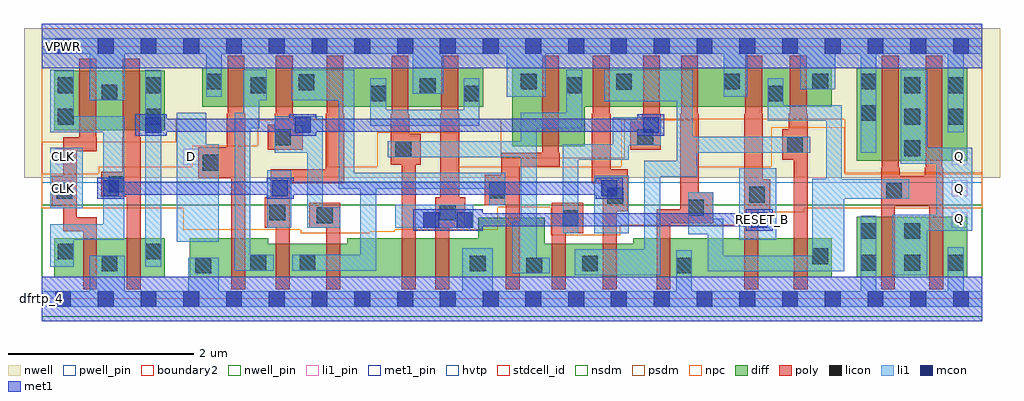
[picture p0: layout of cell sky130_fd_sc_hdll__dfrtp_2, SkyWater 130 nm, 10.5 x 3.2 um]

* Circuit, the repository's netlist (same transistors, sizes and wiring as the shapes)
* Copyright 2020 The SkyWater PDK Authors
*
* Licensed under the Apache License, Version 2.0 (the "License");
* you may not use this file except in compliance with the License.
* You may obtain a copy of the License at
*
*     https://www.apache.org/licenses/LICENSE-2.0
*
* Unless required by applicable law or agreed to in writing, software
* distributed under the License is distributed on an "AS IS" BASIS,
* WITHOUT WARRANTIES OR CONDITIONS OF ANY KIND, either express or implied.
* See the License for the specific language governing permissions and
* limitations under the License.
*
* SPDX-License-Identifier: Apache-2.0

.SUBCKT sky130_fd_sc_hdll__dfrtp_2 CLK D RESET_B VGND VNB VPB VPWR Q
*.PININFO CLK:I D:I RESET_B:I VGND:I VNB:I VPB:I VPWR:I Q:O
MI46 clkpos clkneg VGND VNB sky130_fd_pr__nfet_01v8 m=1 w=0.42U l=0.15U mult=1
+ sa=0.265 sb=0.265 sd=0.28 area=0.063 perim=1.14
MI42 db clkneg M0 VNB sky130_fd_pr__nfet_01v8 m=1 w=0.36U l=0.15U mult=1 sa=0.265
+ sb=0.265 sd=0.28 area=0.063 perim=1.14
MI656 net82 s0 net108 VNB sky130_fd_pr__nfet_01v8 m=1 w=0.42U l=0.15U mult=1 sa=0.265
+ sb=0.265 sd=0.28 area=0.063 perim=1.14
MI657 net108 RESET_B VGND VNB sky130_fd_pr__nfet_01v8 m=1 w=0.42U l=0.15U mult=1
+ sa=0.265 sb=0.265 sd=0.28 area=0.063 perim=1.14
MI33 net101 RESET_B VGND VNB sky130_fd_pr__nfet_01v8 m=1 w=0.42U l=0.15U mult=1
+ sa=0.265 sb=0.265 sd=0.28 area=0.063 perim=1.14
MI4 M0 clkpos net93 VNB sky130_fd_pr__nfet_01v8 m=1 w=0.36U l=0.15U mult=1 sa=0.265
+ sb=0.265 sd=0.28 area=0.063 perim=1.14
MI34 net93 M1 net101 VNB sky130_fd_pr__nfet_01v8 m=1 w=0.42U l=0.15U mult=1 sa=0.265
+ sb=0.265 sd=0.28 area=0.063 perim=1.14
MI655 s0 clkneg net81 VNB sky130_fd_pr__nfet_01v8 m=1 w=0.36U l=0.15U mult=1 sa=0.265
+ sb=0.265 sd=0.28 area=0.063 perim=1.14
MI653 Q net82 VGND VNB sky130_fd_pr__nfet_01v8 m=2 w=0.65U l=0.15U mult=1 sa=0.265
+ sb=0.265 sd=0.28 area=0.063 perim=1.14
MI654 net81 net82 VGND VNB sky130_fd_pr__nfet_01v8 m=1 w=0.42U l=0.15U mult=1 sa=0.265
+ sb=0.265 sd=0.28 area=0.063 perim=1.14
MI44 clkneg CLK VGND VNB sky130_fd_pr__nfet_01v8 m=1 w=0.42U l=0.15U mult=1 sa=0.265
+ sb=0.265 sd=0.28 area=0.063 perim=1.14
MI647 M1 M0 VGND VNB sky130_fd_pr__nfet_01v8 m=1 w=0.64U l=0.15U mult=1 sa=0.265
+ sb=0.265 sd=0.28 area=0.063 perim=1.14
MI39 db D VGND VNB sky130_fd_pr__nfet_01v8 m=1 w=0.42U l=0.15U mult=1 sa=0.265
+ sb=0.265 sd=0.28 area=0.063 perim=1.14
MI649 M1 clkpos s0 VNB sky130_fd_pr__nfet_01v8 m=1 w=0.36U l=0.15U mult=1 sa=0.265
+ sb=0.265 sd=0.28 area=0.063 perim=1.14
MI47 clkpos clkneg VPWR VPB sky130_fd_pr__pfet_01v8_hvt m=1 w=0.64U l=0.18U mult=1
+ sa=0.265 sb=0.265 sd=0.28 area=0.063 perim=1.14
MI43 db clkpos M0 VPB sky130_fd_pr__pfet_01v8_hvt m=1 w=0.42U l=0.18U mult=1 sa=0.265
+ sb=0.265 sd=0.28 area=0.063 perim=1.14
MI662 net165 net82 VPWR VPB sky130_fd_pr__pfet_01v8_hvt m=1 w=0.42U l=0.18U mult=1
+ sa=0.265 sb=0.265 sd=0.28 area=0.063 perim=1.14
MI659 net82 RESET_B VPWR VPB sky130_fd_pr__pfet_01v8_hvt m=1 w=0.42U l=0.18U mult=1
+ sa=0.265 sb=0.265 sd=0.28 area=0.063 perim=1.14
MI664 s0 clkpos net165 VPB sky130_fd_pr__pfet_01v8_hvt m=1 w=0.42U l=0.18U mult=1
+ sa=0.265 sb=0.265 sd=0.28 area=0.063 perim=1.14
MI658 net82 s0 VPWR VPB sky130_fd_pr__pfet_01v8_hvt m=1 w=0.42U l=0.18U mult=1
+ sa=0.265 sb=0.265 sd=0.28 area=0.063 perim=1.14
MI30 net144 M1 VPWR VPB sky130_fd_pr__pfet_01v8_hvt m=1 w=0.42U l=0.18U mult=1
+ sa=0.265 sb=0.265 sd=0.28 area=0.063 perim=1.14
MI31 M0 clkneg net144 VPB sky130_fd_pr__pfet_01v8_hvt m=1 w=0.42U l=0.18U mult=1
+ sa=0.265 sb=0.265 sd=0.28 area=0.063 perim=1.14
MI32 net144 RESET_B VPWR VPB sky130_fd_pr__pfet_01v8_hvt m=1 w=0.42U l=0.18U mult=1
+ sa=0.265 sb=0.265 sd=0.28 area=0.063 perim=1.14
MI660 Q net82 VPWR VPB sky130_fd_pr__pfet_01v8_hvt m=2 w=1.0U l=0.18U mult=1 sa=0.265
+ sb=0.265 sd=0.28 area=0.063 perim=1.14
MI45 clkneg CLK VPWR VPB sky130_fd_pr__pfet_01v8_hvt m=1 w=0.64U l=0.18U mult=1
+ sa=0.265 sb=0.265 sd=0.28 area=0.063 perim=1.14
MI648 M1 M0 VPWR VPB sky130_fd_pr__pfet_01v8_hvt m=1 w=0.84U l=0.18U mult=1 sa=0.265
+ sb=0.265 sd=0.28 area=0.063 perim=1.14
MI40 db D VPWR VPB sky130_fd_pr__pfet_01v8_hvt m=1 w=0.42U l=0.18U mult=1 sa=0.265
+ sb=0.265 sd=0.28 area=0.063 perim=1.14
MI650 M1 clkneg s0 VPB sky130_fd_pr__pfet_01v8_hvt m=1 w=0.42U l=0.18U mult=1 sa=0.265
+ sb=0.265 sd=0.28 area=0.063 perim=1.14
.ENDS sky130_fd_sc_hdll__dfrtp_2

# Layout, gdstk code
import gdstk
lib = gdstk.Library(unit=1e-6, precision=1e-09)
def R(c, l, rs):  # rectangles x0, y0, x1, y1
    for r in rs: c.add(gdstk.rectangle(r[:2], r[2:], *l))
def A(c, l, x, y, w, h, nx, ny, dx, dy):  # array of equal rectangles
    R(c, l, [(x+i*dx, y+j*dy, x+i*dx+w, y+j*dy+h) for i in range(nx) for j in range(ny)])
def P(c, l, *ps):  # polygons
    for p in ps: c.add(gdstk.Polygon(p, *l))
nwell_pin = (64, 16)
nwell = (64, 20)
diff = (65, 20)
poly = (66, 20)
licon = (66, 44)
li1_pin = (67, 16)
li1 = (67, 20)
mcon = (67, 44)
met1_pin = (68, 16)
met1 = (68, 20)
hvtp = (78, 44)
stdcell_id = (81, 4)
nsdm = (93, 44)
psdm = (94, 20)
npc = (95, 20)
pwell_pin = (122, 16)
boundary2 = (236, 0)

sky130_fd_sc_hdll__dfrtp = lib.new_cell('sky130_fd_sc_hdll__dfrtp_2')
R(sky130_fd_sc_hdll__dfrtp, nwell_pin, [(0.145,2.635,0.315,2.805)])
R(sky130_fd_sc_hdll__dfrtp, nwell, [(-0.19,1.305,10.31,2.91)])
R(sky130_fd_sc_hdll__dfrtp, diff, [(0.135,0.235,1.325,0.655), (8.77,0.235,9.96,0.885), (8.77,1.485,9.96,2.485), (0.135,1.815,1.325,2.455), (1.73,2.065,4.75,2.485)])
P(sky130_fd_sc_hdll__dfrtp, diff, [(8.5,2.485),(5.065,2.485),(5.065,1.645),(5.845,1.645),(5.845,2.065),(8.5,2.065)],
  [(8.5,0.655),(6.365,0.655),(6.365,0.595),(5.415,0.595),(5.415,0.875),(4.695,0.875),(4.695,0.655),(3.285,0.655),(3.285,0.595),(2.44,0.595),(2.44,0.655),(1.595,0.655),(1.595,0.235),(8.5,0.235)])
P(sky130_fd_sc_hdll__dfrtp, poly, [(0.595,1.74),(0.585,1.74),(0.585,2.585),(0.405,2.585),(0.405,1.74),(0.23,1.74),(0.23,1.325),(0.11,1.325),(0.11,0.995),(0.23,0.995),(0.23,0.73),(0.445,0.73),(0.445,0.105),(0.595,0.105),(0.595,0.88),(0.38,0.88),(0.38,1.59),(0.595,1.59)],
  [(1.065,1.74),(1.055,1.74),(1.055,2.585),(0.875,2.585),(0.875,1.74),(0.865,1.74),(0.865,1.37),(0.64,1.37),(0.64,1.1),(0.915,1.1),(0.915,0.105),(1.065,0.105)],
  [(2.19,1.99),(2.18,1.99),(2.18,2.615),(2,2.615),(2,1.99),(1.99,1.99),(1.99,1.63),(1.685,1.63),(1.685,1.3),(2.04,1.3),(2.04,0.105),(2.19,0.105)],
  [(2.81,1.875),(2.71,1.875),(2.71,1.99),(2.7,1.99),(2.7,2.615),(2.52,2.615),(2.52,1.99),(2.51,1.99),(2.51,1.875),(2.43,1.875),(2.43,1.605),(2.81,1.605)],
  [(3.21,1.035),(2.88,1.035),(2.88,0.765),(3.06,0.765),(3.06,0.105),(3.21,0.105)],
  [(3.255,1.99),(3.245,1.99),(3.245,2.615),(3.065,2.615),(3.065,1.99),(3.055,1.99),(3.055,1.395),(2.465,1.395),(2.465,1.095),(2.4,1.095),(2.4,0.765),(2.52,0.765),(2.52,0.105),(2.67,0.105),(2.67,1.245),(3.255,1.245)],
  [(4.08,1.775),(3.955,1.775),(3.955,1.99),(3.945,1.99),(3.945,2.615),(3.765,2.615),(3.765,1.99),(3.755,1.99),(3.755,1.445),(3.875,1.445),(3.875,0.105),(4.025,0.105),(4.025,1.445),(4.08,1.445)],
  [(4.555,1.095),(4.49,1.095),(4.49,1.99),(4.48,1.99),(4.48,2.615),(4.3,2.615),(4.3,1.99),(4.29,1.99),(4.29,1.095),(4.235,1.095),(4.235,0.105),(4.385,0.105),(4.385,0.765),(4.555,0.765)],
  [(5.575,1.57),(5.565,1.57),(5.565,2.615),(5.385,2.615),(5.385,1.57),(4.945,1.57),(4.945,1.335),(4.765,1.335),(4.765,1.005),(4.995,1.005),(4.995,0.105),(5.145,0.105),(5.145,1.42),(5.575,1.42)],
  [(5.825,1.035),(5.49,1.035),(5.49,0.105),(5.64,0.105),(5.64,0.705),(5.825,0.705)],
  [(6.305,1.395),(6.12,1.395),(6.12,1.99),(6.11,1.99),(6.11,2.615),(5.93,2.615),(5.93,1.99),(5.92,1.99),(5.92,1.245),(6.035,1.245),(6.035,0.105),(6.185,0.105),(6.185,0.945),(6.305,0.945)],
  [(6.66,1.99),(6.65,1.99),(6.65,2.615),(6.47,2.615),(6.47,1.99),(6.46,1.99),(6.46,1.905),(6.33,1.905),(6.33,1.605),(6.66,1.605)],
  [(7.225,1.145),(7.07,1.145),(7.07,1.99),(7.06,1.99),(7.06,2.615),(6.88,2.615),(6.88,1.99),(6.87,1.99),(6.87,0.965),(6.615,0.965),(6.615,0.105),(6.765,0.105),(6.765,0.815),(7.225,0.815)],
  [(7.84,1.285),(7.76,1.285),(7.76,1.99),(7.75,1.99),(7.75,2.615),(7.57,2.615),(7.57,1.99),(7.56,1.99),(7.56,0.105),(7.71,0.105),(7.71,0.955),(7.84,0.955)],
  [(8.24,1.99),(8.23,1.99),(8.23,2.615),(8.05,2.615),(8.05,1.99),(8.04,1.99),(8.04,1.825),(7.97,1.825),(7.97,1.495),(8.09,1.495),(8.09,0.105),(8.24,0.105)],
  [(9.7,1.41),(9.69,1.41),(9.69,2.615),(9.51,2.615),(9.51,1.41),(9.5,1.41),(9.5,1.325),(9.23,1.325),(9.23,1.41),(9.22,1.41),(9.22,2.615),(9.04,2.615),(9.04,1.41),(9.03,1.41),(9.03,0.105),(9.18,0.105),(9.18,0.995),(9.55,0.995),(9.55,0.105),(9.7,0.105)])
A(sky130_fd_sc_hdll__dfrtp, licon, 8.81, 0.305, 0.17, 0.17, 3, 1, 0.47, 0)
A(sky130_fd_sc_hdll__dfrtp, licon, 9.28, 1.535, 0.17, 0.17, 1, 3, 0, 0.34)
R(sky130_fd_sc_hdll__dfrtp, licon, [(1.655,0.275,1.825,0.445), (5.215,0.275,5.385,0.445), (6.825,0.275,6.995,0.445), (0.645,0.295,0.815,0.465), (4.605,0.295,4.775,0.465), (5.815,0.295,5.985,0.465), (2.245,0.305,2.415,0.475), (2.775,0.305,2.945,0.475), (8.29,0.375,8.46,0.545), (0.175,0.425,0.345,0.595), (1.115,0.425,1.285,0.595), (8.81,0.645,8.98,0.815), (9.28,0.645,9.45,0.815), (5.605,0.785,5.775,0.955), (2.96,0.815,3.13,0.985), (2.45,0.845,2.62,1.015), (4.285,0.845,4.455,1.015), (6.955,0.895,7.125,1.065), (6.085,1.025,6.255,1.195), (7.61,1.035,7.78,1.205), (0.16,1.075,0.33,1.245), (9.085,1.075,9.255,1.245), (4.815,1.085,4.985,1.255), (0.72,1.15,0.89,1.32), (1.735,1.38,1.905,1.55), (3.805,1.525,3.975,1.695), (8.02,1.575,8.19,1.745), (2.51,1.655,2.68,1.825), (6.41,1.655,6.58,1.825), (0.175,1.875,0.345,2.045), (1.115,1.875,1.285,2.045), (9.75,1.875,9.92,2.045), (8.81,1.915,8.98,2.085), (3.535,2.125,3.705,2.295), (4.54,2.125,4.71,2.295), (7.81,2.125,7.98,2.295), (0.645,2.135,0.815,2.305), (4.07,2.205,4.24,2.375), (0.175,2.215,0.345,2.385), (1.115,2.215,1.285,2.385), (2.25,2.215,2.42,2.385), (5.645,2.215,5.815,2.385), (9.75,2.215,9.92,2.385), (2.765,2.245,2.935,2.415), (6.18,2.25,6.35,2.42), (1.77,2.255,1.94,2.425), (5.155,2.255,5.325,2.425), (7.34,2.255,7.51,2.425), (8.29,2.255,8.46,2.425), (8.81,2.255,8.98,2.425)])
A(sky130_fd_sc_hdll__dfrtp, li1_pin, 9.79, 0.765, 0.17, 0.17, 1, 3, 0, 0.34)
R(sky130_fd_sc_hdll__dfrtp, li1_pin, [(0.15,1.105,0.32,1.275), (0.15,1.445,0.32,1.615), (1.525,1.445,1.695,1.615)])
R(sky130_fd_sc_hdll__dfrtp, li1, [(1.115,0.345,1.285,2.465), (7.505,0.635,7.905,1.405), (5.945,0.705,6.315,1.325), (2.425,0.765,2.685,1.385), (3.805,0.765,4.645,1.015), (0.09,0.975,0.44,1.625)])
P(sky130_fd_sc_hdll__dfrtp, li1, [(10.12,2.805),(0,2.805),(0,2.635),(0.515,2.635),(0.515,2.135),(0.895,2.135),(0.895,2.635),(1.77,2.635),(1.77,2.175),(1.94,2.175),(1.94,2.635),(3.99,2.635),(3.99,2.205),(4.32,2.205),(4.32,2.635),(5.005,2.635),(5.005,2.175),(5.425,2.175),(5.425,2.635),(7.34,2.635),(7.34,2.175),(7.59,2.175),(7.59,2.635),(8.16,2.635),(8.16,2.255),(8.54,2.255),(8.54,2.635),(8.81,2.635),(8.81,1.575),(8.98,1.575),(8.98,2.635),(9.75,2.635),(9.75,1.795),(9.92,1.795),(9.92,2.635),(10.12,2.635)],
  [(10.12,0.085),(9.92,0.085),(9.92,0.555),(9.75,0.555),(9.75,0.085),(8.98,0.085),(8.98,0.895),(8.81,0.895),(8.81,0.085),(6.995,0.085),(6.995,0.525),(6.825,0.525),(6.825,0.085),(4.855,0.085),(4.855,0.545),(4.525,0.545),(4.525,0.085),(1.905,0.085),(1.905,0.445),(1.575,0.445),(1.575,0.085),(0.895,0.085),(0.895,0.465),(0.515,0.465),(0.515,0.085),(0,0.085),(0,-0.085),(10.12,-0.085)],
  [(10.01,1.625),(9.53,1.625),(9.53,2.465),(9.24,2.465),(9.24,1.455),(9.625,1.455),(9.625,0.905),(9.15,0.905),(9.15,0.255),(9.53,0.255),(9.53,0.735),(10.01,0.735)],
  [(9.335,1.285),(8.61,1.285),(8.61,2.085),(7.98,2.085),(7.98,2.375),(7.81,2.375),(7.81,1.915),(8.44,1.915),(8.44,1.295),(8.29,1.295),(8.29,0.465),(7.335,0.465),(7.335,0.865),(7.225,0.865),(7.225,1.145),(6.955,1.145),(6.955,0.695),(7.165,0.695),(7.165,0.295),(8.635,0.295),(8.635,1.075),(9.335,1.075)],
  [(8.27,1.745),(7.005,1.745),(7.005,2.465),(6.05,2.465),(6.05,2.125),(6.835,2.125),(6.835,1.485),(6.485,1.485),(6.485,0.535),(5.735,0.535),(5.735,0.255),(6.655,0.255),(6.655,1.315),(7.055,1.315),(7.055,1.575),(8.27,1.575)],
  [(6.66,1.955),(6.145,1.955),(6.145,1.665),(5.605,1.665),(5.605,0.705),(5.775,0.705),(5.775,1.495),(6.315,1.495),(6.315,1.655),(6.66,1.655)],
  [(5.815,2.465),(5.645,2.465),(5.645,2.005),(5.155,2.005),(5.155,1.695),(3.725,1.695),(3.725,1.525),(5.155,1.525),(5.155,0.835),(5.065,0.835),(5.065,0.275),(5.465,0.275),(5.465,0.445),(5.325,0.445),(5.325,1.835),(5.815,1.835)],
  [(0.89,1.965),(0.345,1.965),(0.345,2.465),(0.09,2.465),(0.09,1.795),(0.66,1.795),(0.66,0.805),(0.09,0.805),(0.09,0.345),(0.345,0.345),(0.345,0.635),(0.89,0.635)],
  [(4.985,1.355),(3.365,1.355),(3.365,2.465),(2.685,2.465),(2.685,2.135),(3.195,2.135),(3.195,1.185),(3.43,1.185),(3.43,0.475),(2.695,0.475),(2.695,0.305),(3.6,0.305),(3.6,1.185),(4.815,1.185),(4.815,1.005),(4.985,1.005)],
  [(4.71,2.375),(4.54,2.375),(4.54,2.035),(3.705,2.035),(3.705,2.375),(3.535,2.375),(3.535,1.865),(4.71,1.865)],
  [(3.21,0.985),(3.025,0.985),(3.025,1.965),(2.51,1.965),(2.51,1.575),(2.855,1.575),(2.855,0.765),(3.21,0.765)],
  [(2.495,0.475),(2.245,0.475),(2.245,1.835),(2.34,1.835),(2.34,2.135),(2.42,2.135),(2.42,2.465),(2.17,2.465),(2.17,2.005),(2.075,2.005),(2.075,0.305),(2.495,0.305)],
  [(1.905,1.665),(1.77,1.665),(1.77,2.005),(1.455,2.005),(1.455,0.615),(1.905,0.615)])
A(sky130_fd_sc_hdll__dfrtp, mcon, 0.145, -0.085, 0.17, 0.17, 22, 2, 0.46, 2.72)
R(sky130_fd_sc_hdll__dfrtp, mcon, [(4.105,0.765,4.275,0.935), (4.465,0.765,4.635,0.935), (7.635,0.765,7.805,0.935), (0.66,1.105,0.83,1.275), (2.48,1.105,2.65,1.275), (6.02,1.105,6.19,1.275), (1.115,1.785,1.285,1.955), (2.725,1.785,2.895,1.955), (6.47,1.785,6.64,1.955)])
R(sky130_fd_sc_hdll__dfrtp, met1_pin, [(0.145,-0.085,0.315,0.085), (7.635,0.765,7.805,0.935), (0.145,2.635,0.315,2.805)])
R(sky130_fd_sc_hdll__dfrtp, met1, [(0,-0.24,10.12,0.24), (0,2.48,10.12,2.96)])
P(sky130_fd_sc_hdll__dfrtp, met1, [(7.865,0.965),(7.575,0.965),(7.575,0.92),(4.745,0.92),(4.745,0.965),(3.995,0.965),(3.995,0.735),(4.745,0.735),(4.745,0.78),(7.575,0.78),(7.575,0.735),(7.865,0.735)],
  [(6.25,1.305),(5.96,1.305),(5.96,1.26),(2.71,1.26),(2.71,1.305),(2.42,1.305),(2.42,1.26),(0.89,1.26),(0.89,1.305),(0.6,1.305),(0.6,1.075),(0.89,1.075),(0.89,1.12),(2.42,1.12),(2.42,1.075),(2.71,1.075),(2.71,1.12),(5.96,1.12),(5.96,1.075),(6.25,1.075)],
  [(6.7,1.985),(6.41,1.985),(6.41,1.94),(2.955,1.94),(2.955,1.985),(2.665,1.985),(2.665,1.94),(1.345,1.94),(1.345,1.985),(1.005,1.985),(1.005,1.755),(1.345,1.755),(1.345,1.8),(2.665,1.8),(2.665,1.755),(2.955,1.755),(2.955,1.8),(6.41,1.8),(6.41,1.755),(6.7,1.755)])
R(sky130_fd_sc_hdll__dfrtp, hvtp, [(0,1.25,10.12,2.72)])
R(sky130_fd_sc_hdll__dfrtp, stdcell_id, [(0,0,10.12,2.72)])
R(sky130_fd_sc_hdll__dfrtp, nsdm, [(0,-0.19,10.12,1.015)])
P(sky130_fd_sc_hdll__dfrtp, psdm, [(10.12,2.91),(0,2.91),(0,1.685),(1.45,1.685),(1.45,1.935),(4.94,1.935),(4.94,1.515),(6.275,1.515),(6.275,1.935),(8.64,1.935),(8.64,1.355),(10.12,1.355)])
P(sky130_fd_sc_hdll__dfrtp, npc, [(10.12,1.345),(8.64,1.345),(8.64,1.845),(7.85,1.845),(7.85,1.42),(7.05,1.42),(7.05,1.925),(6.235,1.925),(6.235,1.42),(4.495,1.42),(4.495,1.795),(3.61,1.795),(3.61,1.42),(3.08,1.42),(3.08,1.925),(2.325,1.925),(2.325,1.65),(1.62,1.65),(1.62,1.42),(0.615,1.42),(0.615,1.345),(0,1.345),(0,0.975),(1.525,0.975),(1.525,0.745),(2.785,0.745),(2.785,0.705),(3.53,0.705),(3.53,0.72),(3.8,0.72),(3.8,0.745),(4.905,0.745),(4.905,0.985),(5.475,0.985),(5.475,0.685),(6.225,0.685),(6.225,0.795),(7.675,0.795),(7.675,0.935),(8.205,0.935),(8.205,0.975),(10.12,0.975)])
R(sky130_fd_sc_hdll__dfrtp, pwell_pin, [(0.145,-0.085,0.315,0.085)])
R(sky130_fd_sc_hdll__dfrtp, boundary2, [(0,0,10.12,2.72)])
sky130_fd_sc_hdll__dfrtp.add(gdstk.Label('dfrtp_4', (0,0), layer=83, texttype=44))
sky130_fd_sc_hdll__dfrtp.add(gdstk.Label('RESET_B', (7.76,0.85), layer=68, texttype=5))
sky130_fd_sc_hdll__dfrtp.add(gdstk.Label('VPWR', (0.23,2.72), layer=68, texttype=5))
sky130_fd_sc_hdll__dfrtp.add(gdstk.Label('VGND', (0.23,0), layer=68, texttype=5))
sky130_fd_sc_hdll__dfrtp.add(gdstk.Label('Q', (9.875,1.19), layer=67, texttype=5))
sky130_fd_sc_hdll__dfrtp.add(gdstk.Label('Q', (9.87,0.865), layer=67, texttype=5))
sky130_fd_sc_hdll__dfrtp.add(gdstk.Label('CLK', (0.235,1.19), layer=67, texttype=5))
sky130_fd_sc_hdll__dfrtp.add(gdstk.Label('CLK', (0.235,1.53), layer=67, texttype=5))
sky130_fd_sc_hdll__dfrtp.add(gdstk.Label('D', (1.61,1.53), layer=67, texttype=5))
sky130_fd_sc_hdll__dfrtp.add(gdstk.Label('Q', (9.875,1.53), layer=67, texttype=5))
sky130_fd_sc_hdll__dfrtp.add(gdstk.Label('VPB', (0.23,2.72), layer=64, texttype=5))
sky130_fd_sc_hdll__dfrtp.add(gdstk.Label('VNB', (0.23,0), layer=64, texttype=59))

lib.write_gds('sky130_fd_sc_hdll__dfrtp_2.gds')
